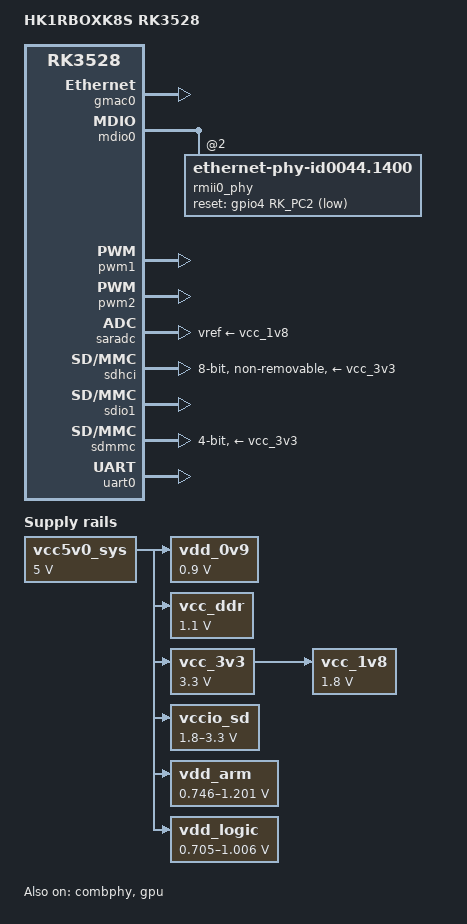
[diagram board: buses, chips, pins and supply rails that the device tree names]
// SPDX-License-Identifier: GPL-2.0+
/*
 * Copyright (c) 2020 Rockchip Electronics Co., Ltd
 * Copyright (c) 2024 Radxa Limited
 * Copyright (c) 2024 Yao Zi <ziyao@disroot.org>
 */

/dts-v1/;

#include <dt-bindings/input/input.h>
#include <dt-bindings/leds/common.h>
#include <dt-bindings/pwm/pwm.h>
#include "rk3528.dtsi"

/ {
	model = "HK1RBOXK8S RK3528";
	compatible = "hk1rboxk8s,rk3528", "rockchip,rk3528";

	aliases {
		ethernet0 = &gmac0;
		mmc0 = &sdhci;
		mmc1 = &sdmmc;
		serial0 = &uart0;
	};

	chosen {
		stdout-path = "serial0:1500000n8";
	};

	vdd_0v9: regulator-0v9-vdd {
		compatible = "regulator-fixed";
		regulator-name = "vdd_0v9";
		regulator-always-on;
		regulator-boot-on;
		regulator-min-microvolt = <900000>;
		regulator-max-microvolt = <900000>;
		vin-supply = <&vcc5v0_sys>;
	};

	vcc_ddr: regulator-1v1-vcc-ddr {
		compatible = "regulator-fixed";
		regulator-name = "vcc_ddr";
		regulator-always-on;
		regulator-boot-on;
		regulator-min-microvolt = <1100000>;
		regulator-max-microvolt = <1100000>;
		vin-supply = <&vcc5v0_sys>;
	};

	vcc_1v8: regulator-1v8-vcc {
		compatible = "regulator-fixed";
		regulator-name = "vcc_1v8";
		regulator-always-on;
		regulator-boot-on;
		regulator-min-microvolt = <1800000>;
		regulator-max-microvolt = <1800000>;
		vin-supply = <&vcc_3v3>;
	};

	vcc_3v3: regulator-3v3-vcc {
		compatible = "regulator-fixed";
		regulator-name = "vcc_3v3";
		regulator-always-on;
		regulator-boot-on;
		regulator-min-microvolt = <3300000>;
		regulator-max-microvolt = <3300000>;
		vin-supply = <&vcc5v0_sys>;
	};

	vcc5v0_sys: regulator-5v0-vcc-sys {
		compatible = "regulator-fixed";
		regulator-name = "vcc5v0_sys";
		regulator-always-on;
		regulator-boot-on;
		regulator-min-microvolt = <5000000>;
		regulator-max-microvolt = <5000000>;
	};

	vccio_sd: regulator-vccio-sd {
		compatible = "regulator-gpio";
		gpios = <&gpio4 RK_PB6 GPIO_ACTIVE_HIGH>;
		pinctrl-names = "default";
		pinctrl-0 = <&sdmmc_vol_ctrl_h>;
		regulator-name = "vccio_sd";
		regulator-min-microvolt = <1800000>;
		regulator-max-microvolt = <3300000>;
		states = <1800000 0x0>, <3300000 0x1>;
		vin-supply = <&vcc5v0_sys>;
	};

	vdd_arm: regulator-vdd-arm {
		compatible = "pwm-regulator";
		pwms = <&pwm1 0 5000 PWM_POLARITY_INVERTED>;
		pwm-supply = <&vcc5v0_sys>;
		regulator-name = "vdd_arm";
		regulator-always-on;
		regulator-boot-on;
		regulator-min-microvolt = <746000>;
		regulator-max-microvolt = <1201000>;
		regulator-settling-time-up-us = <250>;
	};

	vdd_logic: regulator-vdd-logic {
		compatible = "pwm-regulator";
		pwms = <&pwm2 0 5000 PWM_POLARITY_INVERTED>;
		pwm-supply = <&vcc5v0_sys>;
		regulator-name = "vdd_logic";
		regulator-always-on;
		regulator-boot-on;
		regulator-min-microvolt = <705000>;
		regulator-max-microvolt = <1006000>;
		regulator-settling-time-up-us = <250>;
	};
};

&combphy {
	status = "okay";
};

&cpu0 {
	cpu-supply = <&vdd_arm>;
};

&cpu1 {
	cpu-supply = <&vdd_arm>;
};

&cpu2 {
	cpu-supply = <&vdd_arm>;
};

&cpu3 {
	cpu-supply = <&vdd_arm>;
};

&gmac0 {
	status = "okay";
};

&gpu {
	mali-supply = <&vdd_logic>;
	status = "okay";
};

&mdio0 {
	rmii0_phy: ethernet-phy@2 {
		compatible = "ethernet-phy-id0044.1400", "ethernet-phy-ieee802.3-c22";
		reset-assert-us = <20000>;
		reset-deassert-us = <100000>;
		reset-gpios = <&gpio4 RK_PC2 GPIO_ACTIVE_LOW>;
	};
};

&pinctrl {
	sdmmc {
		sdmmc_vol_ctrl_h: sdmmc-vol-ctrl-h {
			rockchip,pins = <4 RK_PB6 RK_FUNC_GPIO &pcfg_pull_none>;
		};
	};
};

&pwm1 {
	pinctrl-names = "default";
	pinctrl-0 = <&pwm1m0_pins>;
	status = "okay";
};

&pwm2 {
	pinctrl-names = "default";
	pinctrl-0 = <&pwm2m0_pins>;
	status = "okay";
};

&saradc {
	vref-supply = <&vcc_1v8>;
	status = "okay";
};

&sdhci {
	bus-width = <8>;
	cap-mmc-highspeed;
	mmc-hs200-1_8v;
	no-sd;
	no-sdio;
	non-removable;
	vmmc-supply = <&vcc_3v3>;
	vqmmc-supply = <&vcc_1v8>;
	status = "okay";
};

&sdio1 {
	status = "okay";
};

&sdmmc {
	bus-width = <4>;
	cap-mmc-highspeed;
	cap-sd-highspeed;
	disable-wp;
	vmmc-supply = <&vcc_3v3>;
	status = "okay";
};

&uart0 {
	pinctrl-names = "default";
	pinctrl-0 = <&uart0m0_xfer>;
	status = "okay";
};
